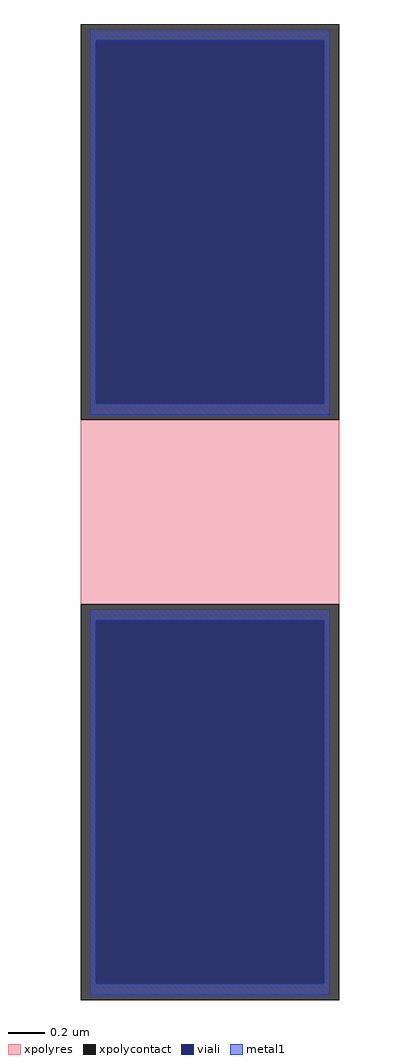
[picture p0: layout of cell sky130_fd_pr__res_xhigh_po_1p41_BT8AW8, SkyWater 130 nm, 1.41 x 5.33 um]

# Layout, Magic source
magic
tech sky130A
magscale 1 2
<< xpolycontact >>
rect -141 101 141 533
rect -141 -533 141 -101
<< xpolyres >>
rect -141 -101 141 101
<< viali >>
rect -125 118 125 515
rect -125 -515 125 -118
<< metal1 >>
rect -131 515 131 527
rect -131 118 -125 515
rect 125 118 131 515
rect -131 106 131 118
rect -131 -118 131 -106
rect -131 -515 -125 -118
rect 125 -515 131 -118
rect -131 -527 131 -515
<< properties >>
string gencell sky130_fd_pr__res_xhigh_po_1p41
string library sky130
string parameters w 1.410 l 1.169 m 1 nx 1 wmin 1.410 lmin 0.50 rho 2000 val 1.925k dummy 0 dw 0.0 term 188.2 sterm 0.0 caplen 0 wmax 1.410 guard 0 glc 1 grc 1 gtc 1 gbc 1 compatible {sky130_fd_pr__res_xhigh_po_0p35  sky130_fd_pr__res_xhigh_po_0p69 sky130_fd_pr__res_xhigh_po_1p41  sky130_fd_pr__res_xhigh_po_2p85 sky130_fd_pr__res_xhigh_po_5p73} snake 0 full_metal 1 n_guard 0 hv_guard 0 vias 1 viagb 0 viagt 0 viagl 0 viagr 0
<< end >>
